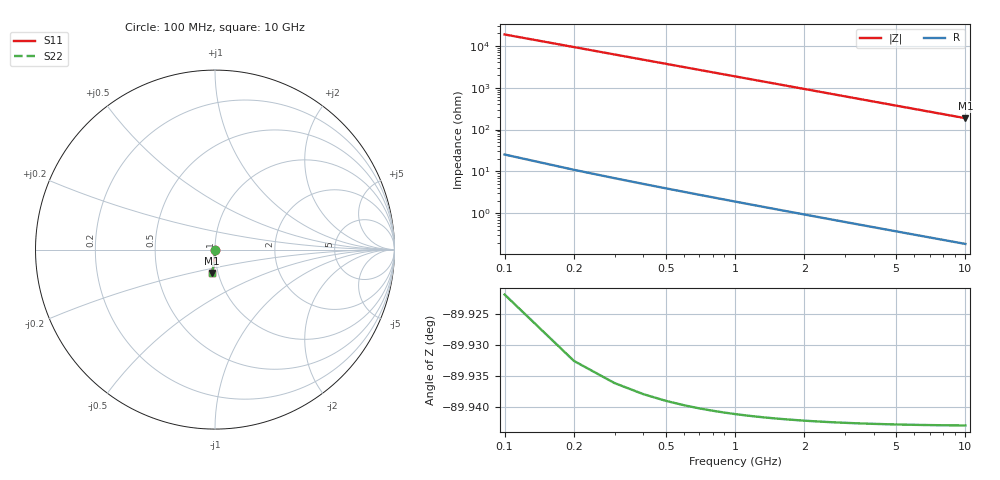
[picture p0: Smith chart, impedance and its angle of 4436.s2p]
# Hz S RI R 50.00
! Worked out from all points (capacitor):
!   100 points, 100 MHz to 10 GHz, reference 50 ohm
!   read as one part in shunt: C = 85.6 fF near 100 MHz
!   lowest |Z| = 187 ohm at 10 GHz (marker M1)
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1e8  -7.98e-07 -0.00134  1 -0.00135  1 -0.00135  -7.98e-07 -0.00134
2e8  -7.54e-06 -0.00268  1 -0.0027  1 -0.0027  -7.54e-06 -0.00268
3e8  -1.79e-05 -0.00401  1 -0.00405  1 -0.00405  -1.79e-05 -0.00401
4e8  -3.19e-05 -0.00535  1 -0.00541  1 -0.00541  -3.19e-05 -0.00535
5e8  -4.95e-05 -0.00669  0.9999 -0.00676  0.9999 -0.00676  -4.95e-05 -0.00669
6e8  -7.07e-05 -0.00803  0.9999 -0.00811  0.9999 -0.00811  -7.07e-05 -0.00803
7e8  -9.55e-05 -0.00936  0.9999 -0.00946  0.9999 -0.00946  -9.55e-05 -0.00936
8e8  -0.000124 -0.0107  0.9999 -0.0108  0.9999 -0.0108  -0.000124 -0.0107
9e8  -0.000156 -0.012  0.9998 -0.0122  0.9998 -0.0122  -0.000156 -0.012
1.1e9  -0.000231 -0.0147  0.9998 -0.0149  0.9998 -0.0149  -0.000231 -0.0147
1.4e9  -0.00037 -0.0187  0.9996 -0.0189  0.9996 -0.0189  -0.00037 -0.0187
1.8e9  -0.000606 -0.0241  0.9994 -0.0243  0.9994 -0.0243  -0.000606 -0.0241
2.1e9  -0.000821 -0.0281  0.9992 -0.0283  0.9992 -0.0283  -0.000821 -0.0281
2.5e9  -0.00116 -0.0334  0.9988 -0.0337  0.9988 -0.0337  -0.00116 -0.0334
2.9e9  -0.00155 -0.0387  0.9984 -0.0391  0.9984 -0.0391  -0.00155 -0.0387
3.4e9  -0.00212 -0.0453  0.9979 -0.0458  0.9979 -0.0458  -0.00212 -0.0453
4.2e9  -0.00322 -0.0559  0.9968 -0.0565  0.9968 -0.0565  -0.00322 -0.0559
5.1e9  -0.00473 -0.0677  0.9953 -0.0685  0.9953 -0.0685  -0.00473 -0.0677
5.9e9  -0.0063 -0.0782  0.9937 -0.079  0.9937 -0.079  -0.0063 -0.0782
6.7e9  -0.00809 -0.0886  0.9919 -0.0896  0.9919 -0.0896  -0.00809 -0.0886
8.4e9  -0.0126 -0.1105  0.9874 -0.1116  0.9874 -0.1116  -0.0126 -0.1105
1e10  -0.0177 -0.1307  0.9823 -0.1321  0.9823 -0.1321  -0.0177 -0.1307
